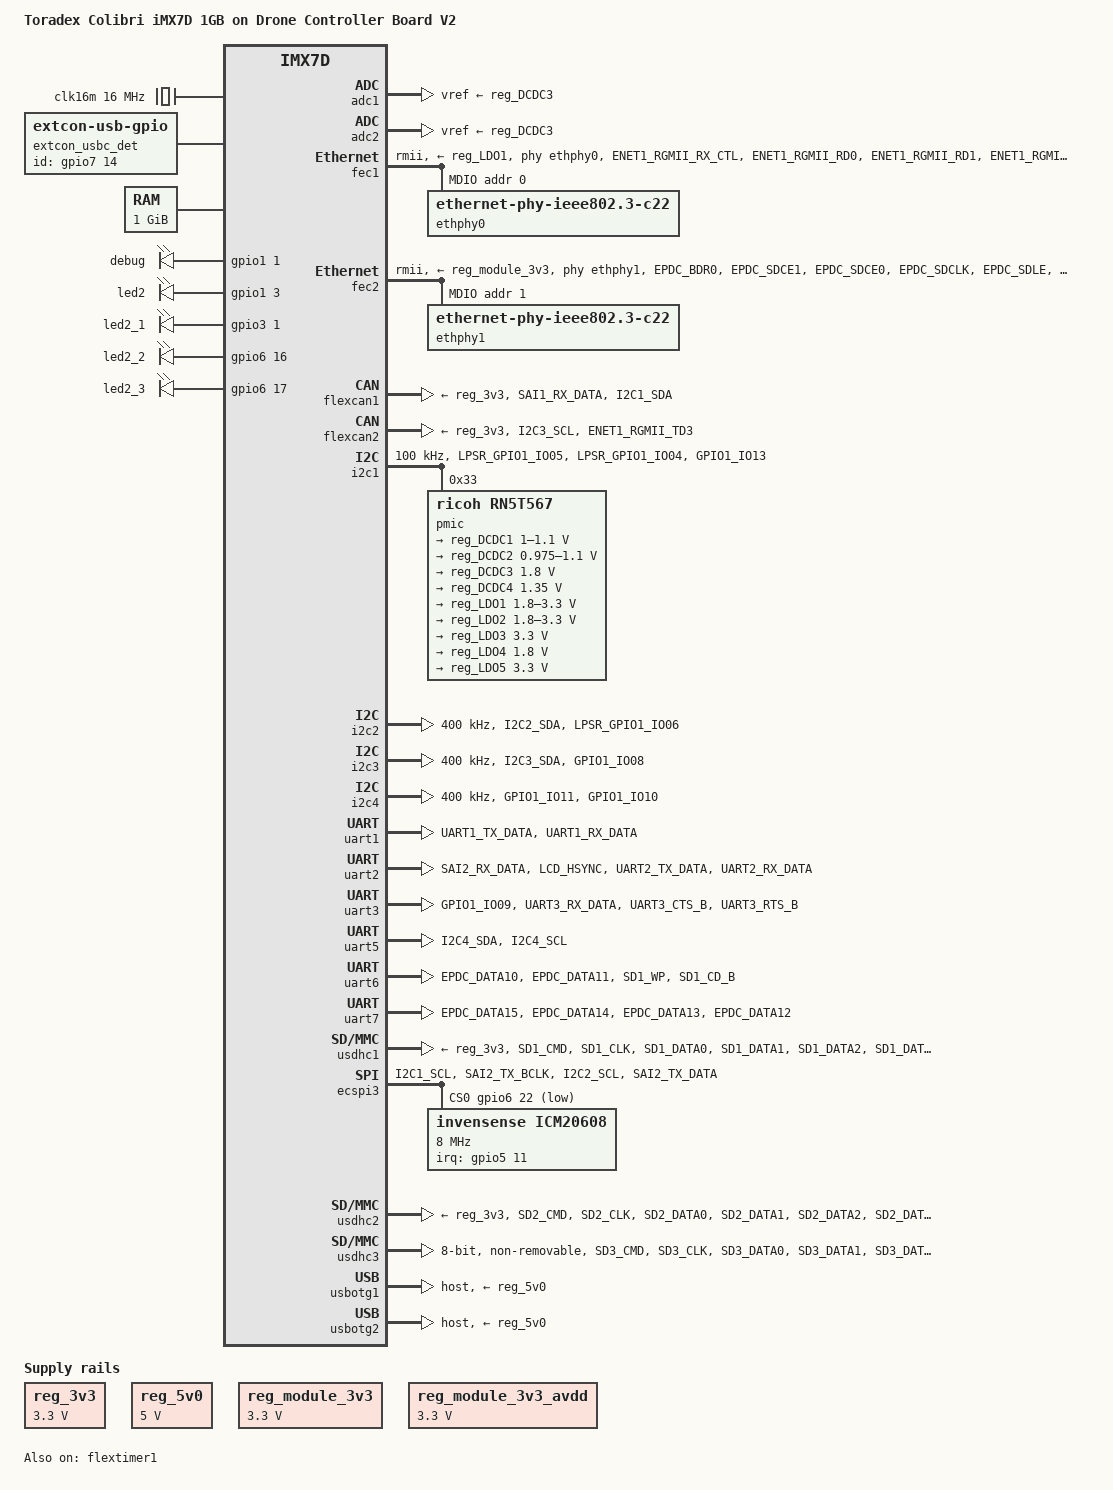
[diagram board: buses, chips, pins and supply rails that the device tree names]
/dts-v1/;
#include "imx7d.dtsi"
#include <dt-bindings/input/input.h>
/ {
	model = "Toradex Colibri iMX7D 1GB on Drone Controller Board V2";
	compatible = "toradex,colibri_imx7d_emmc-drone", "toradex,colibri_imx7d_emmc", \
		     "fsl,imx7d";
	chosen {
		stdout-path = "serial0:115200n8";
	};

	/* fixed crystal dedicated to mcp251x */
	clk16m: clk16m {
		compatible = "fixed-clock";
		#clock-cells = <0>;
		clock-frequency = <16000000>;
	};

	extcon_usbc_det: usbc_det {
		compatible = "linux,extcon-usb-gpio";
		debounce = <25>;
		id-gpio = <&gpio7 14 GPIO_ACTIVE_HIGH>;
		pinctrl-names = "default";
		pinctrl-0 = <&pinctrl_usbc_det>;
	};

	reg_3v3: regulator-3v3 {
		compatible = "regulator-fixed";
		regulator-name = "3.3V";
		regulator-min-microvolt = <3300000>;
		regulator-max-microvolt = <3300000>;
	};

	reg_5v0: regulator-5v0 {
		compatible = "regulator-fixed";
		regulator-name = "5V";
		regulator-min-microvolt = <5000000>;
		regulator-max-microvolt = <5000000>;
	};

	reg_module_3v3: regulator-module-3v3 {
		compatible = "regulator-fixed";
		regulator-name = "+V3.3";
		regulator-min-microvolt = <3300000>;
		regulator-max-microvolt = <3300000>;
		regulator-always-on;
	};

	reg_module_3v3_avdd: regulator-module-3v3-avdd {
		compatible = "regulator-fixed";
		regulator-name = "+V3.3_AVDD_AUDIO";
		regulator-min-microvolt = <3300000>;
		regulator-max-microvolt = <3300000>;
		regulator-always-on;
	};

	aliases {
		/* the following, together with kernel patches, forces a fixed assignment
		   between device id and usdhc controller */
		/* i.e. the eMMC on usdhc3 will be /dev/mmcblk0 */
		mmc0 = &usdhc3; /* eMMC */
		mmc1 = &usdhc1; /* MMC 4bit slot */
		rtc0 = &snvs_rtc;
	};

	memory {
		reg = <0x80000000 0x40000000>;
	};

	m4_tcm: tcml@007f8000 {
		compatible = "fsl, m4_tcml";
		reg = <0x007f8000 0x8000>;
	};

	gpio-leds {
		compatible = "gpio-leds";
		pinctrl-0 = <&pinctrl_leds &pinctrl_lpsr_leds>;
		pinctrl-names = "default";

		debug {
			label = "debug";
			gpios = <&gpio1 1 GPIO_ACTIVE_HIGH>;
			linux,default-trigger = "heartbeat";
		};
		led2 {
			label = "led2";
			gpios = <&gpio1 3 GPIO_ACTIVE_HIGH>;
		};
		led2_1 {
			label = "led2_1";
			gpios = <&gpio3 1 GPIO_ACTIVE_HIGH>;
			linux,default-trigger = "heartbeat";
		};
		led2_2 {
			label = "led2_2";
			gpios = <&gpio6 16 GPIO_ACTIVE_HIGH>;
		};
		led2_3 {
			label = "led2_3";
			gpios = <&gpio6 17 GPIO_ACTIVE_HIGH>;
		};
	};

};

&adc1 {
	vref-supply = <&reg_DCDC3>;
};

&adc2 {
	vref-supply = <&reg_DCDC3>;
};

&cpu0 {
	cpu-supply = <&reg_DCDC2>;
};

&fec1 {
	pinctrl-names = "default";
	pinctrl-0 = <&pinctrl_enet1>;

	clocks = <&clks IMX7D_ENET_AXI_ROOT_CLK>,
		<&clks IMX7D_ENET_AXI_ROOT_CLK>,
		<&clks IMX7D_ENET1_TIME_ROOT_CLK>,
		<&clks IMX7D_PLL_ENET_MAIN_50M_CLK>,
		<&clks IMX7D_ENET1_REF_ROOT_DIV>;
	clock-names = "ipg", "ahb", "ptp", "enet_clk_ref", "enet_out";

	assigned-clocks = <&clks IMX7D_ENET1_TIME_ROOT_SRC>,
			  <&clks IMX7D_ENET1_TIME_ROOT_CLK>,
			  <&clks IMX7D_ENET_PHY_REF_ROOT_DIV>;
	assigned-clock-parents = <&clks IMX7D_PLL_ENET_MAIN_100M_CLK>;
	assigned-clock-rates = <0>, <100000000>, <50000000>;
	phy-mode = "rmii";
	phy-supply = <&reg_LDO1>;
	phy-handle = <&ethphy0>;
	fsl,mii-exclusive;
	status = "okay";
	mdio {
		#address-cells = <1>;
		#size-cells = <0>;

		ethphy0: ethernet-phy@0 {
			compatible = "ethernet-phy-ieee802.3-c22";
			reg = <0>;
		};
	};
};

&fec2 {
	pinctrl-names = "default";
	pinctrl-0 = <&pinctrl_enet2>;

	clocks = <&clks IMX7D_ENET2_IPG_ROOT_CLK>,
		<&clks IMX7D_ENET_AXI_ROOT_CLK>,
		<&clks IMX7D_ENET2_TIME_ROOT_CLK>,
		<&clks IMX7D_PLL_ENET_MAIN_50M_CLK>,
		<&clks IMX7D_ENET2_REF_ROOT_DIV>;
	clock-names = "ipg", "ahb", "ptp", "enet_clk_ref", "enet_out";
	phy-reset-gpios = <&gpio2 9 0>;
	assigned-clocks = <&clks IMX7D_ENET2_TIME_ROOT_SRC>,
			  <&clks IMX7D_ENET2_TIME_ROOT_CLK>,
			  <&clks IMX7D_ENET_PHY_REF_ROOT_DIV>;
	assigned-clock-parents = <&clks IMX7D_PLL_ENET_MAIN_100M_CLK>;
	assigned-clock-rates = <0>, <100000000>, <50000000>;
	phy-mode = "rmii";
	phy-supply = <&reg_module_3v3>;
	phy-handle = <&ethphy1>;
	fsl,mii-exclusive;
	status = "okay";
	mdio {
		#address-cells = <1>;
		#size-cells = <0>;

		ethphy1: ethernet-phy@1 {
			compatible = "ethernet-phy-ieee802.3-c22";
			reg = <1>;
		};
	};
};

&flexcan1 {
	pinctrl-names = "default";
	pinctrl-0 = <&pinctrl_flexcan1>;
	xceiver-supply = <&reg_3v3>;
	status = "okay";
};

&flexcan2 {
	pinctrl-names = "default";
	pinctrl-0 = <&pinctrl_flexcan2>;
	xceiver-supply = <&reg_3v3>;
	status = "okay";
};

&i2c1 {
	clock-frequency = <100000>;
	pinctrl-names = "default";
	pinctrl-0 = <&pinctrl_i2c1 &pinctrl_i2c1_int>;
	status = "okay";

	pmic@33 {
		compatible = "ricoh,rn5t567";
		reg = <0x33>;

		regulators {
			reg_DCDC1: DCDC1 {  /* V1.0_SOC */
				regulator-min-microvolt = <1000000>;
				regulator-max-microvolt = <1100000>;
				regulator-boot-on;
				regulator-always-on;
			};

			reg_DCDC2: DCDC2 { /* V1.1_ARM */
				regulator-min-microvolt = <975000>;
				regulator-max-microvolt = <1100000>;
				regulator-boot-on;
				regulator-always-on;
			};

			reg_DCDC3: DCDC3 { /* V1.8 */
				regulator-min-microvolt = <1800000>;
				regulator-max-microvolt = <1800000>;
				regulator-boot-on;
				regulator-always-on;
			};

			reg_DCDC4: DCDC4 { /* V1.35_DRAM */
				regulator-min-microvolt = <1350000>;
				regulator-max-microvolt = <1350000>;
				regulator-boot-on;
				regulator-always-on;
			};

			reg_LDO1: LDO1 { /* PWR_EN_+V3.3_ETH */
				regulator-min-microvolt = <1800000>;
				regulator-max-microvolt = <3300000>;
				regulator-boot-on;
				regulator-always-on;
			};

			reg_LDO2: LDO2 { /* +V1.8_SD */
				regulator-min-microvolt = <1800000>;
				regulator-max-microvolt = <3300000>;
				regulator-boot-on;
				regulator-always-on;
			};

			reg_LDO3: LDO3 { /* PWR_EN_+V3.3_LPSR */
				regulator-min-microvolt = <3300000>;
				regulator-max-microvolt = <3300000>;
				regulator-boot-on;
				regulator-always-on;
			};

			reg_LDO4: LDO4 { /* V1.8_LPSR */
				regulator-min-microvolt = <1800000>;
				regulator-max-microvolt = <1800000>;
				regulator-boot-on;
				regulator-always-on;
			};

			reg_LDO5: LDO5 { /* PWR_EN_+V3.3 */
				regulator-min-microvolt = <3300000>;
				regulator-max-microvolt = <3300000>;
				regulator-boot-on;
				regulator-always-on;
			};
		};
	};
};

&i2c2 {
	status = "okay";
	clock-frequency = <400000>;
	pinctrl-names = "default";
	pinctrl-0 = <&pinctrl_i2c2 &pinctrl_i2c2_lpsr>;
};

&i2c3 {
	status = "okay";
	clock-frequency = <400000>;
	pinctrl-names = "default";
	pinctrl-0 = <&pinctrl_i2c3>;
};

&i2c4 {
	status = "okay";
	clock-frequency = <400000>;
	pinctrl-names = "default";
	pinctrl-0 = <&pinctrl_i2c4>;
};
/*
&ocram {
	reg = <0x00901000 0xf000>;
};

&rpmsg {
	vdev-nums = <1>;
	reg = <0x8fff0000 0x10000>;
	status = "disabled";
};
*/
&reg_1p0d {
	vin-supply = <&reg_DCDC3>;
};

&snvs_pwrkey {
	status = "disabled";
};

&uart1 {
	pinctrl-names = "default";
	pinctrl-0 = <&pinctrl_uart1>;
	assigned-clocks = <&clks IMX7D_UART1_ROOT_SRC>;
	assigned-clock-parents = <&clks IMX7D_OSC_24M_CLK>;
	fsl,dte-mode;
	status = "okay";
};

&uart2 {
	pinctrl-names = "default";
	pinctrl-0 = <&pinctrl_uart2>;
	assigned-clocks = <&clks IMX7D_UART2_ROOT_SRC>;
	assigned-clock-parents = <&clks IMX7D_OSC_24M_CLK>;
	uart-has-rtscts;
	fsl,dce-mode;
	status = "okay";
};

&uart3 {
	pinctrl-names = "default";
	pinctrl-0 = <&pinctrl_uart3>;
	assigned-clocks = <&clks IMX7D_UART3_ROOT_SRC>;
	assigned-clock-parents = <&clks IMX7D_PLL_SYS_MAIN_240M_CLK>;
	fsl,dte-mode;
	uart-has-rtscts;
	status = "okay";
};

&uart5 {
	pinctrl-names = "default";
	pinctrl-0 = <&pinctrl_uart5>;
	assigned-clocks = <&clks IMX7D_UART5_ROOT_SRC>;
	assigned-clock-parents = <&clks IMX7D_PLL_SYS_MAIN_240M_CLK>;
	fsl,dte-mode;
	status = "okay";
};

&uart6 {
	pinctrl-names = "default";
	pinctrl-0 = <&pinctrl_uart6>;
	assigned-clocks = <&clks IMX7D_UART6_ROOT_SRC>;
	assigned-clock-parents = <&clks IMX7D_PLL_SYS_MAIN_240M_CLK>;
	uart-has-rtscts;
	fsl,dte-mode;
	status = "okay";
};

&uart7 {
	pinctrl-names = "default";
	pinctrl-0 = <&pinctrl_uart7>;
	assigned-clocks = <&clks IMX7D_UART7_ROOT_SRC>;
	assigned-clock-parents = <&clks IMX7D_OSC_24M_CLK>;
	uart-has-rtscts;
	fsl,dte-mode;
	status = "okay";
};

&aips2 {
	flextimer1: flextimer@30640000 {
		compatible = "fsl,imx7-ftm-pwm";
		reg = <0x30640000 0x10000>;
		clock-names = "ftm_sys", "ftm_ext",
			      "ftm_fix", "ftm_cnt_clk_en";
		clocks = <&clks IMX7D_FLEXTIMER1_ROOT_CLK>,
			<&clks IMX7D_CLK_DUMMY>,
			<&clks IMX7D_CLK_DUMMY>,
			<&clks IMX7D_CLK_DUMMY>;
		interrupts = <GIC_SPI 17 IRQ_TYPE_LEVEL_HIGH>;
		status = "disabled";
	};

	flextimer2: flextimer@30650000 {
		compatible = "fsl,imx7-ftm-pwm";
		reg = <0x30650000 0x10000>;
		clock-names = "ftm_sys", "ftm_ext",
			      "ftm_fix", "ftm_cnt_clk_en";
		clocks = <&clks IMX7D_FLEXTIMER2_ROOT_CLK>,
			<&clks IMX7D_CLK_DUMMY>,
			<&clks IMX7D_CLK_DUMMY>,
			<&clks IMX7D_CLK_DUMMY>;
		interrupts = <GIC_SPI 18 IRQ_TYPE_LEVEL_HIGH>;
		status = "disabled";
	};
};

&flextimer1 {
	pinctrl-names = "default";
	pinctrl-0 = <&pinctrl_ftm1>;
	status = "okay";
};

&flextimer2 {
	pinctrl-names = "default";
	pinctrl-0 = <&pinctrl_ftm2>;
	status = "disabled";
};

/* The define SD_1_8 allows to use the SD interface at a higher speed mode
 * if the card supports it. For this the signaling voltage is switched from
 * 3.3V to 1.8V under the usdhc1's drivers control.
 * All pins supplied with NVCC_SD1 must be able to cope with this
 * and must (MUST!!!) not be driven with a voltage higher than 1.8V or
 * the interface will not work.
 */
/* #define SD_1_8 */
&usdhc1 {
#ifdef SD_1_8
	pinctrl-names = "default", "state_100mhz", "state_200mhz";
	pinctrl-0 = <&pinctrl_usdhc1 &pinctrl_cd_usdhc1>;
	pinctrl-1 = <&pinctrl_usdhc1_100mhz &pinctrl_cd_usdhc1>;
	pinctrl-2 = <&pinctrl_usdhc1_200mhz &pinctrl_cd_usdhc1>;
	vqmmc-supply = <&reg_LDO2>;
#else
	pinctrl-names = "default";
	pinctrl-0 = <&pinctrl_usdhc1 &pinctrl_cd_usdhc1>;
	no-1-8-v;
#endif
	cd-gpios = <&gpio1 0 GPIO_ACTIVE_LOW>;
	disable-wp;
	enable-sdio-wakeup;
	keep-power-in-suspend;
	wakeup-source;
	status = "okay";
	vmmc-supply = <&reg_3v3>;
};

&ecspi3 {
	fsl,spi-num-chipselects = <1>;
	cs-gpios = <&gpio6 22 GPIO_ACTIVE_LOW>;
	pinctrl-names = "default";
	pinctrl-0 = <&pinctrl_ecspi3 &pinctrl_ecspi3_cs>;
	status = "okay";

	icm20608: imu@0 {
		compatible = "invensense,icm20608";
		pinctrl-names = "default";
		pinctrl-0 = <&pinctrl_imu_int>;
		reg = <0>;
		interrupt-parent = <&gpio5>;
		interrupts = <11 IRQ_TYPE_EDGE_RISING>;
		spi-max-frequency = <8000000>;
		status = "okay";
	};

	spidev0: spidev@0 {
		compatible = "toradex,evalspi";
		reg = <0>;
		spi-max-frequency = <8000000>;
		status = "disabled";
	};
};

&usdhc2 {
#ifdef SD_1_8
	pinctrl-names = "default", "state_100mhz", "state_200mhz";
	pinctrl-0 = <&pinctrl_usdhc2 &pinctrl_cd_usdhc2>;
	pinctrl-1 = <&pinctrl_usdhc2_100mhz &pinctrl_cd_usdhc2>;
	pinctrl-2 = <&pinctrl_usdhc2_200mhz &pinctrl_cd_usdhc2>;
	vqmmc-supply = <&reg_LDO2>;
#else
	pinctrl-names = "default";
	pinctrl-0 = <&pinctrl_usdhc2 &pinctrl_cd_usdhc2>;
	no-1-8-v;
#endif
	cd-gpios = <&gpio6 19 GPIO_ACTIVE_LOW>;
	disable-wp;
	enable-sdio-wakeup;
	keep-power-in-suspend;
	wakeup-source;
	status = "okay";
	vmmc-supply = <&reg_3v3>;
};

&usdhc3 {
	pinctrl-names = "default", "state_100mhz", "state_200mhz";
	pinctrl-0 = <&pinctrl_usdhc3>;
	pinctrl-1 = <&pinctrl_usdhc3_100mhz>;
	pinctrl-2 = <&pinctrl_usdhc3_200mhz>;
	assigned-clocks = <&clks IMX7D_USDHC3_ROOT_CLK>;
	assigned-clock-rates = <400000000>;
	bus-width = <8>;
	non-removable;
	sdhci-caps-mask = <0x80000000 0x0>;
	status = "okay";
};

&iomuxc {
	pinctrl-names = "default";
	pinctrl-0 = <&pinctrl_gpio1 &pinctrl_gpio2 &pinctrl_gpio5 &pinctrl_gpio7>;
	pinctrl_ftm1: ftm1-grp {
		fsl,pins = <
			MX7D_PAD_EPDC_SDOE__FLEXTIMER1_CH0	0x14 /* SODIMM 118 */
			MX7D_PAD_EPDC_SDSHR__FLEXTIMER1_CH1	0x14 /* SODIMM 120 */
			MX7D_PAD_SD1_RESET_B__FLEXTIMER1_CH2	0X14 /* SODIMM 73 */
			MX7D_PAD_LCD_DATA16__FLEXTIMER1_CH4	0X14 /* SODIMM 57 */
			MX7D_PAD_LCD_DATA17__FLEXTIMER1_CH5	0X14 /* SODIMM 61 */
			MX7D_PAD_LCD_DATA18__FLEXTIMER1_CH6	0X14 /* SODIMM 136 */
			MX7D_PAD_LCD_DATA19__FLEXTIMER1_CH7	0X14 /* SODIMM 138 */
		>;
	};
	pinctrl_ftm2: ftm2-grp {
		fsl,pins = <
			MX7D_PAD_EPDC_GDCLK__FLEXTIMER2_CH0		0x14 /* SODIMM 132 */
			MX7D_PAD_EPDC_GDOE__FLEXTIMER2_CH1		0x14 /* SODIMM 134 */
			MX7D_PAD_EPDC_GDSP__FLEXTIMER2_CH3		0x14 /* SODIMM 104 */
			MX7D_PAD_LCD_DATA20__FLEXTIMER2_CH4		0x14 /* SODIMM 140 */
			MX7D_PAD_LCD_DATA22__FLEXTIMER2_CH6		0x14 /* SODIMM 144 */
			MX7D_PAD_LCD_DATA23__FLEXTIMER2_CH7		0x14 /* SODIMM 146 */
		>;
	};
	pinctrl_leds: gpio-led-grp {
		fsl,pins = <
			MX7D_PAD_LCD_ENABLE__GPIO3_IO1		0x14 /* SODIMM 44 */
			MX7D_PAD_SAI1_RX_SYNC__GPIO6_IO16	0x14 /* SODIMM 77 */
			MX7D_PAD_SAI1_RX_BCLK__GPIO6_IO17	0x14 /* SODIMM 24 */
		>;
	};
	pinctrl_gpio1: gpio1-grp {
		fsl,pins = <
			MX7D_PAD_EPDC_DATA08__GPIO2_IO8		0x74 /* SODIMM 91 */
			MX7D_PAD_LCD_RESET__GPIO3_IO4		0x14 /* SODIMM 93 */
			MX7D_PAD_ENET1_RGMII_TXC__GPIO7_IO11	0x14 /* SODIMM 99 */
			MX7D_PAD_EPDC_DATA00__GPIO2_IO0		0x14 /* SODIMM 111 */
			MX7D_PAD_EPDC_DATA01__GPIO2_IO1		0x14 /* SODIMM 113 */
			MX7D_PAD_EPDC_DATA02__GPIO2_IO2		0x14 /* SODIMM 115 */
			MX7D_PAD_EPDC_DATA03__GPIO2_IO3		0x14 /* SODIMM 117 */
			MX7D_PAD_EPDC_DATA04__GPIO2_IO4		0x14 /* SODIMM 119 */
			MX7D_PAD_EPDC_DATA05__GPIO2_IO5		0x14 /* SODIMM 121 */
			MX7D_PAD_EPDC_DATA06__GPIO2_IO6		0x14 /* SODIMM 123 */
			MX7D_PAD_EPDC_DATA07__GPIO2_IO7		0x14 /* SODIMM 125 */
			MX7D_PAD_LCD_DATA21__GPIO3_IO26		0x14 /* SODIMM 142 */
			MX7D_PAD_EPDC_BDR1__GPIO2_IO29		0x14 /* SODIMM 110 */
			MX7D_PAD_EPDC_PWR_COM__GPIO2_IO30	0x14 /* SODIMM 112 */
			MX7D_PAD_EPDC_PWR_STAT__GPIO2_IO31	0x14 /* SODIMM 128 */
		>;
	};

	pinctrl_gpio2: gpio2-grp { /* On X22 Camera interface */
		fsl,pins = <
			MX7D_PAD_ECSPI1_MISO__GPIO4_IO18	0x14 /* SODIMM 79 */
			MX7D_PAD_ECSPI2_MISO__GPIO4_IO22	0x14 /* SODIMM 85 */
			MX7D_PAD_ECSPI1_SS0__GPIO4_IO19		0x14 /* SODIMM 97 */
			MX7D_PAD_ECSPI1_SCLK__GPIO4_IO16	0x14 /* SODIMM 101 */
			MX7D_PAD_ECSPI1_MOSI__GPIO4_IO17	0x14 /* SODIMM 103 */
		>;
	};

	pinctrl_ecspi3_cs: ecspi3-cs-grp {
		fsl,pins = <
			//MX7D_PAD_SAI2_TX_DATA__ECSPI3_SS0	0x14 /* SODIMM 34 */
			MX7D_PAD_SAI2_TX_DATA__GPIO6_IO22	0x14 /* SODIMM 34 */
		>;
	};

	pinctrl_ecspi3: ecspi3-grp {
		fsl,pins = <
			MX7D_PAD_I2C1_SCL__ECSPI3_MISO		0x2 /* SODIMM 90 */
			MX7D_PAD_SAI2_TX_BCLK__ECSPI3_MOSI	0x2 /* SODIMM 27 */
			MX7D_PAD_I2C2_SCL__ECSPI3_SCLK		0x2 /* SODIMM 88 */
		>;
	};

	pinctrl_imu_int: imu-grp {
		fsl,pins = <
			MX7D_PAD_SD2_RESET_B__GPIO5_IO11	0X79 /* SODIMM 98 */
		>;
	};


	pinctrl_gpio5: spigpios {
		fsl,pins = <
			/* CS1 */
			MX7D_PAD_ECSPI2_SS0__GPIO4_IO23		0x74 /* SODIMM 65 */
		>;
	};

	pinctrl_gpio7: gpio7-grp { /* Alternatively CAN1 */
		fsl,pins = <
			MX7D_PAD_ENET1_RGMII_RD3__GPIO7_IO3	0x14 /* SODIMM 55 */
			MX7D_PAD_ENET1_RGMII_RD2__GPIO7_IO2	0x14 /* SODIMM 63 */
		>;
	};

	pinctrl_i2c1_int: i2c1-int-grp { /* PMIC / TOUCH */
		fsl,pins = <
			MX7D_PAD_GPIO1_IO13__GPIO1_IO13		0x79
		>;
	};

	pinctrl_enet1: enet1grp {
		fsl,pins = <
			MX7D_PAD_ENET1_RGMII_RX_CTL__ENET1_RGMII_RX_CTL	0x73
			MX7D_PAD_ENET1_RGMII_RD0__ENET1_RGMII_RD0	0x73
			MX7D_PAD_ENET1_RGMII_RD1__ENET1_RGMII_RD1	0x73
			MX7D_PAD_ENET1_RGMII_RXC__ENET1_RX_ER		0x73

			MX7D_PAD_ENET1_RGMII_TX_CTL__ENET1_RGMII_TX_CTL	0x73
			MX7D_PAD_ENET1_RGMII_TD0__ENET1_RGMII_TD0	0x73
			MX7D_PAD_ENET1_RGMII_TD1__ENET1_RGMII_TD1	0x73

			MX7D_PAD_GPIO1_IO12__CCM_ENET_REF_CLK1		0x40000074

			MX7D_PAD_SD2_CD_B__ENET1_MDIO			0x30
			MX7D_PAD_SD2_WP__ENET1_MDC			0x30
		>;
	};

	pinctrl_enet2: enet2grp {
		fsl,pins = <
			MX7D_PAD_EPDC_BDR0__CCM_ENET_REF_CLK2	0x40000074 /* SODIMM 106 */
			MX7D_PAD_EPDC_SDCE1__ENET2_RX_ER	0x73
			MX7D_PAD_EPDC_SDCE0__ENET2_RGMII_RX_CTL 0x73
			MX7D_PAD_EPDC_SDCLK__ENET2_RGMII_RD0	0x73
			MX7D_PAD_EPDC_SDLE__ENET2_RGMII_RD1	0x73

			MX7D_PAD_EPDC_GDRL__ENET2_RGMII_TX_CTL	0x73
			MX7D_PAD_EPDC_SDCE2__ENET2_RGMII_TD0	0x73
			MX7D_PAD_EPDC_SDCE3__ENET2_RGMII_TD1	0x73

			MX7D_PAD_GPIO1_IO15__ENET2_MDC		0x3 /* SODIMM 178 */
			MX7D_PAD_GPIO1_IO14__ENET2_MDIO		0x3 /* SODIMM 188 */

			MX7D_PAD_EPDC_DATA09__GPIO2_IO9		0x14 /* SODIMM 89 */

		>;
	};

	pinctrl_flexcan1: flexcan1-grp {
		fsl,pins = <
			MX7D_PAD_SAI1_RX_DATA__FLEXCAN1_RX	0x59 /* SODIMM 169 */
			MX7D_PAD_I2C1_SDA__FLEXCAN1_TX		0x59 /* SODIMM 92 */
		>;
	};

	pinctrl_flexcan2: flexcan2-grp {
		fsl,pins = <
			MX7D_PAD_I2C3_SCL__FLEXCAN2_RX		0x59 /* SODIMM 81 */
			MX7D_PAD_ENET1_RGMII_TD3__FLEXCAN2_TX	0x59 /* SODIMM 194 */
		>;
	};

	pinctrl_i2c4: i2c4-grp {
		fsl,pins = <
			MX7D_PAD_GPIO1_IO11__I2C4_SDA		0x4000007f /* SODIMM 67 */
			MX7D_PAD_GPIO1_IO10__I2C4_SCL		0x4000007f /* SODIMM 30 */
		>;
	};

	pinctrl_uart1: uart1-grp {
		fsl,pins = <
			MX7D_PAD_UART1_TX_DATA__UART1_DTE_RX	0x79 /* SODIMM 33 */
			MX7D_PAD_UART1_RX_DATA__UART1_DTE_TX	0x79 /* SODIMM 35 */
		>;
	};

	pinctrl_uart2: uart2-grp {
		fsl,pins = <
			MX7D_PAD_SAI2_RX_DATA__UART2_DCE_CTS 0x79 /* SODIMM 32 */
			MX7D_PAD_LCD_HSYNC__UART2_DCE_RTS    0x79 /* SODIMM 68 */
			MX7D_PAD_UART2_TX_DATA__UART2_DCE_TX 0x79 /* SODIMM 36 */
			MX7D_PAD_UART2_RX_DATA__UART2_DCE_RX 0x79 /* SODIMM 38 */
		>;
	};

	pinctrl_uart3: uart3-grp {
		fsl,pins = <
			MX7D_PAD_GPIO1_IO09__UART3_DTE_RX    0x79 /* SODIMM 28 */
			MX7D_PAD_UART3_RX_DATA__UART3_DTE_TX 0x79 /* SODIMM 21 */
			MX7D_PAD_UART3_CTS_B__UART3_DTE_RTS  0x79 /* SODIMM 129 */
			MX7D_PAD_UART3_RTS_B__UART3_DTE_CTS  0x79 /* SODIMM 131 */
		>;
	};

	pinctrl_uart5: uart5-grp {
		fsl,pins = <
			MX7D_PAD_I2C4_SDA__UART5_DTE_RX     0x79 /* SODIMM 75 */
			MX7D_PAD_I2C4_SCL__UART5_DTE_TX     0x79 /* SODIMM 96 */
		>;
	};

	pinctrl_uart6: uart6-grp {
		fsl,pins = <
			MX7D_PAD_EPDC_DATA10__UART6_DTE_CTS 0x79 /* SODIMM 105 */
			MX7D_PAD_EPDC_DATA11__UART6_DTE_RTS 0x79 /* SODIMM 152 */
			MX7D_PAD_SD1_WP__UART6_DTE_RX 	    0x79 /* SODIMM 71 */
			MX7D_PAD_SD1_CD_B__UART6_DTE_TX     0x79 /* SODIMM 69 */
		>;
	};
	pinctrl_uart7: uart7-grp {
		fsl,pins = <
			MX7D_PAD_EPDC_DATA15__UART7_DTE_RTS 0x79 /* SODIMM 107 */
			MX7D_PAD_EPDC_DATA14__UART7_DTE_CTS 0x79 /* SODIMM 126 */
			MX7D_PAD_EPDC_DATA13__UART7_DTE_RX  0x79 /* SODIMM 95 */
			MX7D_PAD_EPDC_DATA12__UART7_DTE_TX  0x79 /* SODIMM 150 */
		>;
	};
	pinctrl_usbc_det: gpio_usbc_det {
		fsl,pins = <
			MX7D_PAD_ENET1_CRS__GPIO7_IO14	0x14
		>;
	};

	pinctrl_usdhc1: usdhc1-grp {
		fsl,pins = <
			MX7D_PAD_SD1_CMD__SD1_CMD	0x59
			MX7D_PAD_SD1_CLK__SD1_CLK	0x19
			MX7D_PAD_SD1_DATA0__SD1_DATA0	0x59
			MX7D_PAD_SD1_DATA1__SD1_DATA1	0x59
			MX7D_PAD_SD1_DATA2__SD1_DATA2	0x59
			MX7D_PAD_SD1_DATA3__SD1_DATA3	0x59
		>;
	};


	pinctrl_usdhc1_100mhz: usdhc1grp_100mhz {
		fsl,pins = <
			MX7D_PAD_SD1_CMD__SD1_CMD	0x5a
			MX7D_PAD_SD1_CLK__SD1_CLK	0x1a
			MX7D_PAD_SD1_DATA0__SD1_DATA0	0x5a
			MX7D_PAD_SD1_DATA1__SD1_DATA1	0x5a
			MX7D_PAD_SD1_DATA2__SD1_DATA2	0x5a
			MX7D_PAD_SD1_DATA3__SD1_DATA3	0x5a
		>;
	};

	pinctrl_usdhc1_200mhz: usdhc1grp_200mhz {
		fsl,pins = <
			MX7D_PAD_SD1_CMD__SD1_CMD	0x5b
			MX7D_PAD_SD1_CLK__SD1_CLK	0x1b
			MX7D_PAD_SD1_DATA0__SD1_DATA0	0x5b
			MX7D_PAD_SD1_DATA1__SD1_DATA1	0x5b
			MX7D_PAD_SD1_DATA2__SD1_DATA2	0x5b
			MX7D_PAD_SD1_DATA3__SD1_DATA3	0x5b
		>;
	};

	pinctrl_usdhc3: usdhc3grp {
		fsl,pins = <
			MX7D_PAD_SD3_CMD__SD3_CMD		0x59
			MX7D_PAD_SD3_CLK__SD3_CLK		0x19
			MX7D_PAD_SD3_DATA0__SD3_DATA0		0x59
			MX7D_PAD_SD3_DATA1__SD3_DATA1		0x59
			MX7D_PAD_SD3_DATA2__SD3_DATA2		0x59
			MX7D_PAD_SD3_DATA3__SD3_DATA3		0x59
			MX7D_PAD_SD3_DATA4__SD3_DATA4		0x59
			MX7D_PAD_SD3_DATA5__SD3_DATA5		0x59
			MX7D_PAD_SD3_DATA6__SD3_DATA6		0x59
			MX7D_PAD_SD3_DATA7__SD3_DATA7		0x59
			MX7D_PAD_SD3_STROBE__SD3_STROBE         0x19
		>;
	};

	pinctrl_usdhc2: usdhc2-grp {
		fsl,pins = <
			MX7D_PAD_SD2_CMD__SD2_CMD	0x59
			MX7D_PAD_SD2_CLK__SD2_CLK	0x19
			MX7D_PAD_SD2_DATA0__SD2_DATA0	0x59
			MX7D_PAD_SD2_DATA1__SD2_DATA1	0x59
			MX7D_PAD_SD2_DATA2__SD2_DATA2	0x59
			MX7D_PAD_SD2_DATA3__SD2_DATA3	0x59
		>;
	};

	pinctrl_cd_usdhc2: usdhc2-cd-grp {
		fsl,pins = <
			MX7D_PAD_SAI2_TX_SYNC__GPIO6_IO19	0x59 /* CD */
		>;
	};

	pinctrl_usdhc3_100mhz: usdhc3grp_100mhz {
		fsl,pins = <
			MX7D_PAD_SD3_CMD__SD3_CMD		0x5a
			MX7D_PAD_SD3_CLK__SD3_CLK		0x1a
			MX7D_PAD_SD3_DATA0__SD3_DATA0		0x5a
			MX7D_PAD_SD3_DATA1__SD3_DATA1		0x5a
			MX7D_PAD_SD3_DATA2__SD3_DATA2		0x5a
			MX7D_PAD_SD3_DATA3__SD3_DATA3		0x5a
			MX7D_PAD_SD3_DATA4__SD3_DATA4		0x5a
			MX7D_PAD_SD3_DATA5__SD3_DATA5		0x5a
			MX7D_PAD_SD3_DATA6__SD3_DATA6		0x5a
			MX7D_PAD_SD3_DATA7__SD3_DATA7		0x5a
			MX7D_PAD_SD3_STROBE__SD3_STROBE         0x1a
		>;
	};

	pinctrl_usdhc3_200mhz: usdhc3grp_200mhz {
		fsl,pins = <
			MX7D_PAD_SD3_CMD__SD3_CMD		0x5b
			MX7D_PAD_SD3_CLK__SD3_CLK		0x1b
			MX7D_PAD_SD3_DATA0__SD3_DATA0		0x5b
			MX7D_PAD_SD3_DATA1__SD3_DATA1		0x5b
			MX7D_PAD_SD3_DATA2__SD3_DATA2		0x5b
			MX7D_PAD_SD3_DATA3__SD3_DATA3		0x5b
			MX7D_PAD_SD3_DATA4__SD3_DATA4		0x5b
			MX7D_PAD_SD3_DATA5__SD3_DATA5		0x5b
			MX7D_PAD_SD3_DATA6__SD3_DATA6		0x5b
			MX7D_PAD_SD3_DATA7__SD3_DATA7		0x5b
			MX7D_PAD_SD3_STROBE__SD3_STROBE         0x1b
		>;
	};
	pinctrl_i2c2: i2c2-grp {
		fsl,pins = <
			MX7D_PAD_I2C2_SDA__I2C2_SDA		0x4000007f
		>;
	};
	pinctrl_i2c3: i2c3-grp {
		fsl,pins = <
			MX7D_PAD_I2C3_SDA__I2C3_SDA		0x4000007f
			MX7D_PAD_GPIO1_IO08__I2C3_SCL		0x4000007f
		>;
	};
};

&iomuxc_lpsr {
	pinctrl-names = "default";
	pinctrl-0 = <&pinctrl_gpio_lpsr>;

	pinctrl_gpio_lpsr: gpio1-grp {
		fsl,pins = <
			MX7D_PAD_LPSR_GPIO1_IO02__GPIO1_IO2	0x14 /* SODIMM 135 */
		>;
	};
	pinctrl_lpsr_leds: gpio1-led-grp {
		fsl,pins = <
			MX7D_PAD_LPSR_GPIO1_IO01__GPIO1_IO1	0x14 /* SODIMM 45 */
			MX7D_PAD_LPSR_GPIO1_IO03__GPIO1_IO3	0x14 /* SODIMM 22 */
		>;
	};

	pinctrl_usbh_reg: gpio-usbh-vbus {
		fsl,pins = <
			MX7D_PAD_LPSR_GPIO1_IO07__GPIO1_IO7	0x14 /* SODIMM 29 USBH PEN */
		>;
	};

	pinctrl_i2c1: i2c1-grp {
		fsl,pins = <
			MX7D_PAD_LPSR_GPIO1_IO05__I2C1_SDA	0x4000007f
			MX7D_PAD_LPSR_GPIO1_IO04__I2C1_SCL	0x4000007f
		>;
	};
	pinctrl_i2c2_lpsr: i2c2-grp {
		fsl,pins = <
			MX7D_PAD_LPSR_GPIO1_IO06__I2C2_SCL	0x4000007f
		>;
	};

	pinctrl_cd_usdhc1: usdhc1-cd-grp {
		fsl,pins = <
			MX7D_PAD_LPSR_GPIO1_IO00__GPIO1_IO0	0x59 /* CD */
		>;
	};
};

&usbotg1 {
	extcon = <&extcon_usbc_det>, <&extcon_usbc_det>;
	vbus-supply = <&reg_5v0>;
	dr_mode = "host";
	status = "okay";
};

&usbotg2 {
	vbus-supply = <&reg_5v0>;
	dr_mode = "host";
	status = "okay";
};
